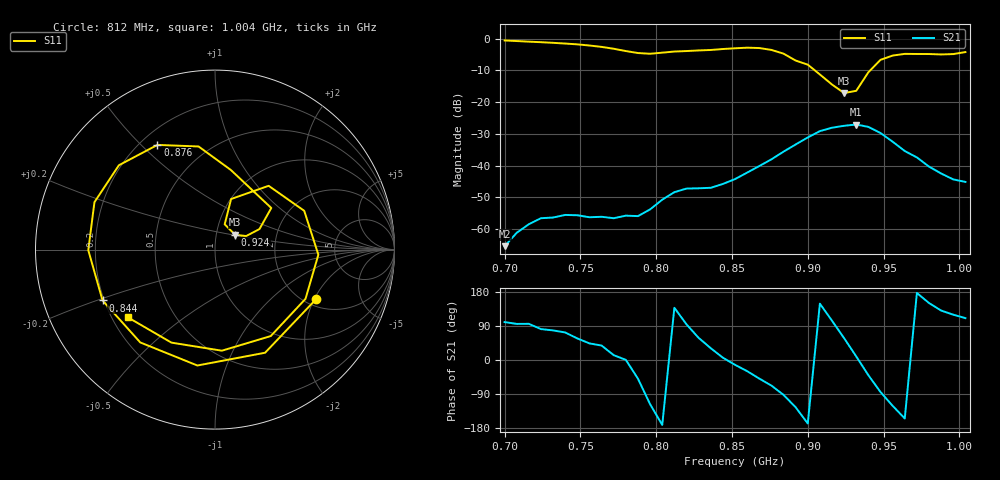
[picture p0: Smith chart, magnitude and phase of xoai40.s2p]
# Hz S RI R 50
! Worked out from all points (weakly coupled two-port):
!   39 points, 700 MHz to 1.004 GHz, reference 50 ohm
!   highest |S21| = -27.05 dB at 932 MHz (marker M1); lowest = -65.4 dB at 700 MHz (marker M2)
!   lowest |S11| = -17.1 dB at 924 MHz (marker M3), VSWR 1.32, Z = 61.6 + j10.4 ohm
!   |S11| at or under -10 dB: 904.7 MHz to 941.2 MHz (36.49 MHz wide, 3.95 % of centre)
!   S12 and S22 are empty: the file has one direction only
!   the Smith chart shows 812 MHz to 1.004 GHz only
!   S11 on the Smith chart (normalised r, x): 812 MHz: 2.28, -2.07; 844 MHz: 0.19, -0.21; 876 MHz: 0.27, +0.56; 924 MHz: 1.23, +0.21; 1.004 GHz: 0.26, -0.32
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7e8  0.7563 0.5552  -9.41e-05 0.000528  0 0  0 0
7.24e8  0.8468 -0.2432  0.000217 0.00146  0 0  0 0
7.4e8  0.4584 -0.702  0.000499 0.00159  0 0  0 0
7.56e8  -0.1895 -0.7574  0.00111 0.00106  0 0  0 0
7.72e8  -0.6635 -0.2031  0.00144 0.000325  0 0  0 0
7.8e8  -0.5976 0.2241  0.00162 9.05e-06  0 0  0 0
7.88e8  -0.2523 0.538  0.00104 -0.00121  0 0  0 0
7.96e8  0.236 0.5285  -0.000915 -0.00182  0 0  0 0
8.04e8  0.5733 0.185  -0.00286 -0.000439  0 0  0 0
8.12e8  0.5641 -0.2753  -0.00282 0.00256  0 0  0 0
8.28e8  -0.0981 -0.6457  0.0023 0.00374  0 0  0 0
8.44e8  -0.6265 -0.2831  0.0051 0.000544  0 0  0 0
8.52e8  -0.706 -0.0032  0.00597 -0.00134  0 0  0 0
8.76e8  -0.3208 0.5833  0.00481 -0.0116  0 0  0 0
9e8  0.3136 0.2318  -0.0271 -0.00596  0 0  0 0
9.08e8  0.2478 0.1144  -0.0298 0.0182  0 0  0 0
9.24e8  0.1117 0.0829  0.0228 0.0357  0 0  0 0
9.32e8  0.054 0.1409  0.0438 0.00716  0 0  0 0
9.48e8  0.2988 0.3554  0.0031 -0.0325  0 0  0 0
9.56e8  0.4971 0.2162  -0.0122 -0.0204  0 0  0 0
9.8e8  0.3108 -0.4817  -0.00837 0.00477  0 0  0 0
1.004e9  -0.4856 -0.3773  -0.00193 0.00518  0 0  0 0
